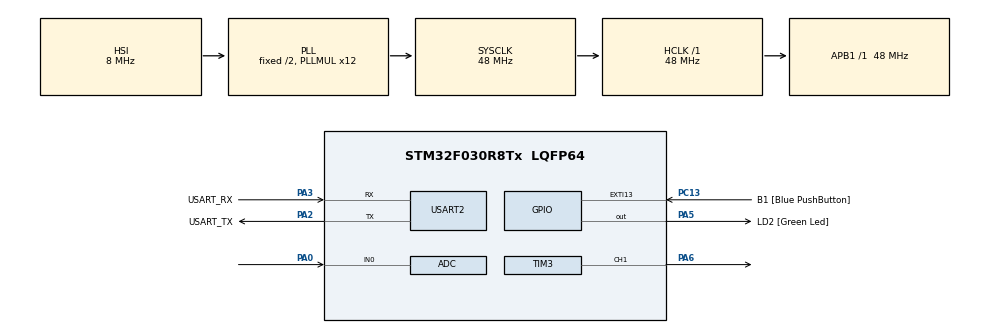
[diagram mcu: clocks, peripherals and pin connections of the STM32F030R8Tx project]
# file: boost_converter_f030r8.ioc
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ADC.ContinuousConvMode=ENABLE
ADC.DMAContinuousRequests=ENABLE
ADC.Resolution=ADC_RESOLUTION_10B
ADC.SamplingTime=ADC_SAMPLETIME_55CYCLES_5
Dma.ADC.0.Direction=DMA_PERIPH_TO_MEMORY
Dma.ADC.0.Instance=DMA1_Channel1
Dma.ADC.0.MemDataAlignment=DMA_MDATAALIGN_WORD
Dma.ADC.0.MemInc=DMA_MINC_ENABLE
Dma.ADC.0.Mode=DMA_CIRCULAR
Dma.ADC.0.PeriphDataAlignment=DMA_PDATAALIGN_WORD
Dma.ADC.0.PeriphInc=DMA_PINC_DISABLE
Dma.ADC.0.Priority=DMA_PRIORITY_LOW
Dma.Request0=ADC
Mcu.Family=STM32F0
Mcu.Name=STM32F030R8Tx
Mcu.Package=LQFP64
NVIC.DMA1_Channel1_IRQn=true\:0\:0\:false\:false\:true\:false\:true\:true
NVIC.TIM3_IRQn=true\:0\:0\:false\:false\:true\:true\:true\:true
PA0.Mode=IN0
PA0.Signal=ADC_IN0
PA13.GPIO_Label=TMS
PA13.Mode=Serial_Wire
PA13.Signal=SYS_SWDIO
PA14.GPIO_Label=TCK
PA14.Mode=Serial_Wire
PA14.Signal=SYS_SWCLK
PA2.GPIO_Label=USART_TX
PA2.GPIO_Mode=GPIO_MODE_AF_PP
PA2.GPIO_PuPd=GPIO_NOPULL
PA2.GPIO_Speed=GPIO_SPEED_FREQ_LOW
PA2.Mode=Asynchronous
PA2.Signal=USART2_TX
PA3.GPIO_Label=USART_RX
PA3.GPIO_Mode=GPIO_MODE_AF_PP
PA3.GPIO_PuPd=GPIO_NOPULL
PA3.GPIO_Speed=GPIO_SPEED_FREQ_LOW
PA3.Mode=Asynchronous
PA3.Signal=USART2_RX
PA5.GPIO_Label=LD2 [Green Led]
PA5.GPIO_Mode=GPIO_MODE_OUTPUT_PP
PA5.GPIO_PuPd=GPIO_NOPULL
PA5.GPIO_Speed=GPIO_SPEED_FREQ_LOW
PA5.Signal=GPIO_Output
PA6.Signal=S_TIM3_CH1
PC13.GPIO_Label=B1 [Blue PushButton]
PC13.GPIO_ModeDefaultEXTI=GPIO_MODE_IT_FALLING
PC13.Signal=GPXTI13
PC14-OSC32_IN.Mode=LSE-External-Oscillator
PC14-OSC32_IN.Signal=RCC_OSC32_IN
PC15-OSC32_OUT.Mode=LSE-External-Oscillator
PC15-OSC32_OUT.Signal=RCC_OSC32_OUT
PF0-OSC_IN.Mode=HSE-External-Oscillator
PF0-OSC_IN.Signal=RCC_OSC_IN
PF1-OSC_OUT.Mode=HSE-External-Oscillator
PF1-OSC_OUT.Signal=RCC_OSC_OUT
ProjectManager.HeapSize=0x200
ProjectManager.StackSize=0x400
ProjectManager.TargetToolchain=STM32CubeIDE
RCC.AHBFreq_Value=48000000
RCC.APB1Freq_Value=48000000
RCC.APB1TimFreq_Value=48000000
RCC.HCLKFreq_Value=48000000
RCC.PLLMUL=RCC_PLL_MUL12
RCC.SYSCLKFreq_VALUE=48000000
RCC.SYSCLKSource=RCC_SYSCLKSOURCE_PLLCLK
SH.S_TIM3_CH1.0=TIM3_CH1,PWM Generation1 CH1
TIM3.Channel-PWM\ Generation1\ CH1=TIM_CHANNEL_1
TIM3.Period=479
TIM3.Prescaler=0
USART2.VirtualMode-Asynchronous=VM_ASYNC
VP_TIM1_VS_ClockSourceINT.Mode=Internal
VP_TIM3_VS_ClockSourceINT.Mode=Internal
board=NUCLEO-F030R8

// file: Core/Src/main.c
/* USER CODE BEGIN Header */
/**
  ******************************************************************************
  * @file           : main.c
  * @brief          : Main program body
  ******************************************************************************
  * @attention
  *
  * Copyright (c) 2024 STMicroelectronics.
  * All rights reserved.
  *
  * This software is licensed under terms that can be found in the LICENSE file
  * in the root directory of this software component.
  * If no LICENSE file comes with this software, it is provided AS-IS.
  *
  ******************************************************************************
  */
/* USER CODE END Header */
#include "main.h"

ADC_HandleTypeDef hadc;
DMA_HandleTypeDef hdma_adc;

TIM_HandleTypeDef htim1;
TIM_HandleTypeDef htim3;

UART_HandleTypeDef huart2;

/* USER CODE BEGIN PV */

#define PAD_SETPOINT 550 //setpoint
#define PAD_SUPPLY_VOLTAGE 3.3f
#define MAX_PAD_VOLTAGE 1.545f

#define PID_SAMPLE_TIME 5 //5us
#define Kp 0.1f
#define Ki 0.0008f
#define Kd 0.015f

float pwm_value=0;
float pwm_output=0;
float Up;
int cikis;
int PWM;
int feedback;
static float pidLastError=0;
static float pidIntegral;
static float pidIntegral0;
float error;
float pidDerivative;
float pidOutput;

/* USER CODE END PV */

void SystemClock_Config(void);
static void MX_GPIO_Init(void);
static void MX_DMA_Init(void);
static void MX_USART2_UART_Init(void);
static void MX_ADC_Init(void);
static void MX_TIM1_Init(void);
static void MX_TIM3_Init(void);
/* USER CODE BEGIN PFP */

float calculatePID(float setValue, float realValue, int maxOutputValue)
{
  #define MAX_PED_VOLTAGE_FORMULA(setVoltage, supplyVoltage)  ( (1023 * setVoltage) / supplyVoltage )
  #define MAX_PED_VOLTAGE_CAL   MAX_PED_VOLTAGE_FORMULA(MAX_PED_VOLTAGE, PAD_SUPPLY_VOLTAGE)

  error       =  (setValue - realValue);
  Up = Kp*error;
  pidIntegral  = (Ki*error)+pidIntegral0;
  pidIntegral0 = pidIntegral;
  pidDerivative =  ( Kd*(error - pidLastError) );
  pidOutput  =  Up + pidIntegral + pidDerivative;
  cikis= (pidOutput*0.1);
  pidLastError = error;

  return cikis;
}
int pidControl()
{

  PWM = calculatePID(PAD_SETPOINT, feedback, MAX_PAD_VOLTAGE);

  return PWM;
}

/* USER CODE END PFP */

int main(void)
{

  /* MCU Configuration--------------------------------------------------------*/

  /* Reset of all peripherals, Initializes the Flash interface and the Systick. */

	HAL_Init();

  /* Configure the system clock */
  SystemClock_Config();

  /* Initialize all configured peripherals */
  MX_GPIO_Init();
  MX_DMA_Init();
  MX_USART2_UART_Init();
  MX_ADC_Init();
  MX_TIM1_Init();
  MX_TIM3_Init();
  /* USER CODE BEGIN 2 */

  HAL_ADC_Start(&hadc);
  HAL_TIM_PWM_Start(&htim3, TIM_CHANNEL_1);
  HAL_TIM_Base_Start_IT(&htim1);

  /* USER CODE END 2 */

  /* Infinite loop */
  while (1)
  {

    /* USER CODE BEGIN 3 */

	  HAL_ADC_PollForConversion(&hadc, 1000);
	  feedback = HAL_ADC_GetValue(&hadc);
	  pidControl();
	  pwm_value=pwm_value-pidControl();

	  if(pwm_value>479){
		  pwm_value=479;

	  }
	  else if(pwm_value<30){
		  pwm_value=30;
	  }
	  else{
		  pwm_value=pwm_value;
	  }
	  HAL_TIM_PWM_Start(&htim3,TIM_CHANNEL_1);
	  __HAL_TIM_SET_COMPARE(&htim3 , TIM_CHANNEL_1 , 240);
  }
  /* USER CODE END 3 */
}

void SystemClock_Config(void)
{
  RCC_OscInitTypeDef RCC_OscInitStruct = {0};
  RCC_ClkInitTypeDef RCC_ClkInitStruct = {0};

  /** Initializes the RCC Oscillators according to the specified parameters
  * in the RCC_OscInitTypeDef structure.
  */
  RCC_OscInitStruct.OscillatorType = RCC_OSCILLATORTYPE_HSI|RCC_OSCILLATORTYPE_HSI14;
  RCC_OscInitStruct.HSIState = RCC_HSI_ON;
  RCC_OscInitStruct.HSI14State = RCC_HSI14_ON;
  RCC_OscInitStruct.HSICalibrationValue = RCC_HSICALIBRATION_DEFAULT;
  RCC_OscInitStruct.HSI14CalibrationValue = 16;
  RCC_OscInitStruct.PLL.PLLState = RCC_PLL_ON;
  RCC_OscInitStruct.PLL.PLLSource = RCC_PLLSOURCE_HSI;
  RCC_OscInitStruct.PLL.PLLMUL = RCC_PLL_MUL12;
  RCC_OscInitStruct.PLL.PREDIV = RCC_PREDIV_DIV1;
  if (HAL_RCC_OscConfig(&RCC_OscInitStruct) != HAL_OK)
  {
    Error_Handler();
  }

  /** Initializes the CPU, AHB and APB buses clocks
  */
  RCC_ClkInitStruct.ClockType = RCC_CLOCKTYPE_HCLK|RCC_CLOCKTYPE_SYSCLK
                              |RCC_CLOCKTYPE_PCLK1;
  RCC_ClkInitStruct.SYSCLKSource = RCC_SYSCLKSOURCE_PLLCLK;
  RCC_ClkInitStruct.AHBCLKDivider = RCC_SYSCLK_DIV1;
  RCC_ClkInitStruct.APB1CLKDivider = RCC_HCLK_DIV1;

  if (HAL_RCC_ClockConfig(&RCC_ClkInitStruct, FLASH_LATENCY_1) != HAL_OK)
  {
    Error_Handler();
  }
}

static void MX_ADC_Init(void)
{

  ADC_ChannelConfTypeDef sConfig = {0};

  /** Configure the global features of the ADC (Clock, Resolution, Data Alignment and number of conversion)
  */
  hadc.Instance = ADC1;
  hadc.Init.ClockPrescaler = ADC_CLOCK_ASYNC_DIV1;
  hadc.Init.Resolution = ADC_RESOLUTION_10B;
  hadc.Init.DataAlign = ADC_DATAALIGN_RIGHT;
  hadc.Init.ScanConvMode = ADC_SCAN_DIRECTION_FORWARD;
  hadc.Init.EOCSelection = ADC_EOC_SINGLE_CONV;
  hadc.Init.LowPowerAutoWait = DISABLE;
  hadc.Init.LowPowerAutoPowerOff = DISABLE;
  hadc.Init.ContinuousConvMode = ENABLE;
  hadc.Init.DiscontinuousConvMode = DISABLE;
  hadc.Init.ExternalTrigConv = ADC_SOFTWARE_START;
  hadc.Init.ExternalTrigConvEdge = ADC_EXTERNALTRIGCONVEDGE_NONE;
  hadc.Init.DMAContinuousRequests = ENABLE;
  hadc.Init.Overrun = ADC_OVR_DATA_PRESERVED;
  if (HAL_ADC_Init(&hadc) != HAL_OK)
  {
    Error_Handler();
  }

  /** Configure for the selected ADC regular channel to be converted.
  */
  sConfig.Channel = ADC_CHANNEL_0;
  sConfig.Rank = ADC_RANK_CHANNEL_NUMBER;
  sConfig.SamplingTime = ADC_SAMPLETIME_55CYCLES_5;
  if (HAL_ADC_ConfigChannel(&hadc, &sConfig) != HAL_OK)
  {
    Error_Handler();
  }

}

static void MX_TIM1_Init(void)
{

  TIM_ClockConfigTypeDef sClockSourceConfig = {0};
  TIM_MasterConfigTypeDef sMasterConfig = {0};

  htim1.Instance = TIM1;
  htim1.Init.Prescaler = 0;
  htim1.Init.CounterMode = TIM_COUNTERMODE_UP;
  htim1.Init.Period = 65535;
  htim1.Init.ClockDivision = TIM_CLOCKDIVISION_DIV1;
  htim1.Init.RepetitionCounter = 0;
  htim1.Init.AutoReloadPreload = TIM_AUTORELOAD_PRELOAD_DISABLE;
  if (HAL_TIM_Base_Init(&htim1) != HAL_OK)
  {
    Error_Handler();
  }
  sClockSourceConfig.ClockSource = TIM_CLOCKSOURCE_INTERNAL;
  if (HAL_TIM_ConfigClockSource(&htim1, &sClockSourceConfig) != HAL_OK)
  {
    Error_Handler();
  }
  sMasterConfig.MasterOutputTrigger = TIM_TRGO_RESET;
  sMasterConfig.MasterSlaveMode = TIM_MASTERSLAVEMODE_DISABLE;
  if (HAL_TIMEx_MasterConfigSynchronization(&htim1, &sMasterConfig) != HAL_OK)
  {
    Error_Handler();
  }

}

static void MX_TIM3_Init(void)
{

  TIM_ClockConfigTypeDef sClockSourceConfig = {0};
  TIM_MasterConfigTypeDef sMasterConfig = {0};
  TIM_OC_InitTypeDef sConfigOC = {0};

  htim3.Instance = TIM3;
  htim3.Init.Prescaler = 0;
  htim3.Init.CounterMode = TIM_COUNTERMODE_UP;
  htim3.Init.Period = 479;
  htim3.Init.ClockDivision = TIM_CLOCKDIVISION_DIV1;
  htim3.Init.AutoReloadPreload = TIM_AUTORELOAD_PRELOAD_DISABLE;
  if (HAL_TIM_Base_Init(&htim3) != HAL_OK)
  {
    Error_Handler();
  }
  sClockSourceConfig.ClockSource = TIM_CLOCKSOURCE_INTERNAL;
  if (HAL_TIM_ConfigClockSource(&htim3, &sClockSourceConfig) != HAL_OK)
  {
    Error_Handler();
  }
  if (HAL_TIM_PWM_Init(&htim3) != HAL_OK)
  {
    Error_Handler();
  }
  sMasterConfig.MasterOutputTrigger = TIM_TRGO_RESET;
  sMasterConfig.MasterSlaveMode = TIM_MASTERSLAVEMODE_DISABLE;
  if (HAL_TIMEx_MasterConfigSynchronization(&htim3, &sMasterConfig) != HAL_OK)
  {
    Error_Handler();
  }
  sConfigOC.OCMode = TIM_OCMODE_PWM1;
  sConfigOC.Pulse = 0;
  sConfigOC.OCPolarity = TIM_OCPOLARITY_HIGH;
  sConfigOC.OCFastMode = TIM_OCFAST_DISABLE;
  if (HAL_TIM_PWM_ConfigChannel(&htim3, &sConfigOC, TIM_CHANNEL_1) != HAL_OK)
  {
    Error_Handler();
  }
  HAL_TIM_MspPostInit(&htim3);

}

static void MX_USART2_UART_Init(void)
{

  huart2.Instance = USART2;
  huart2.Init.BaudRate = 38400;
  huart2.Init.WordLength = UART_WORDLENGTH_8B;
  huart2.Init.StopBits = UART_STOPBITS_1;
  huart2.Init.Parity = UART_PARITY_NONE;
  huart2.Init.Mode = UART_MODE_TX_RX;
  huart2.Init.HwFlowCtl = UART_HWCONTROL_NONE;
  huart2.Init.OverSampling = UART_OVERSAMPLING_16;
  huart2.Init.OneBitSampling = UART_ONE_BIT_SAMPLE_DISABLE;
  huart2.AdvancedInit.AdvFeatureInit = UART_ADVFEATURE_NO_INIT;
  if (HAL_UART_Init(&huart2) != HAL_OK)
  {
    Error_Handler();
  }

}

static void MX_DMA_Init(void)
{

  /* DMA controller clock enable */
  __HAL_RCC_DMA1_CLK_ENABLE();

  /* DMA interrupt init */
  /* DMA1_Channel1_IRQn interrupt configuration */
  HAL_NVIC_SetPriority(DMA1_Channel1_IRQn, 0, 0);
  HAL_NVIC_EnableIRQ(DMA1_Channel1_IRQn);

}

static void MX_GPIO_Init(void)
{
  GPIO_InitTypeDef GPIO_InitStruct = {0};

  /* GPIO Ports Clock Enable */
  __HAL_RCC_GPIOC_CLK_ENABLE();
  __HAL_RCC_GPIOF_CLK_ENABLE();
  __HAL_RCC_GPIOA_CLK_ENABLE();

  /*Configure GPIO pin Output Level */
  HAL_GPIO_WritePin(LD2_GPIO_Port, LD2_Pin, GPIO_PIN_RESET);

  /*Configure GPIO pin : B1_Pin */
  GPIO_InitStruct.Pin = B1_Pin;
  GPIO_InitStruct.Mode = GPIO_MODE_IT_FALLING;
  GPIO_InitStruct.Pull = GPIO_NOPULL;
  HAL_GPIO_Init(B1_GPIO_Port, &GPIO_InitStruct);

  /*Configure GPIO pin : LD2_Pin */
  GPIO_InitStruct.Pin = LD2_Pin;
  GPIO_InitStruct.Mode = GPIO_MODE_OUTPUT_PP;
  GPIO_InitStruct.Pull = GPIO_NOPULL;
  GPIO_InitStruct.Speed = GPIO_SPEED_FREQ_LOW;
  HAL_GPIO_Init(LD2_GPIO_Port, &GPIO_InitStruct);

}

void Error_Handler(void)
{
  __disable_irq();
  while (1)
  {
  }
}
